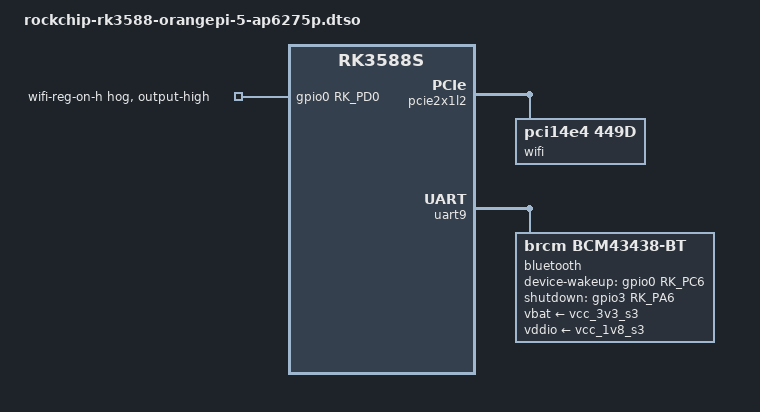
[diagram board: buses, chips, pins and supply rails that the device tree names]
// SPDX-License-Identifier: (GPL-2.0+ OR MIT)

/dts-v1/;
/plugin/;

#include <dt-bindings/gpio/gpio.h>
#include <dt-bindings/pinctrl/rockchip.h>

/ {
	compatible = "xunlong,orangepi-5", "rockchip,rk3588s";

	fragment@0 {
		target = <&pinctrl>;

		__overlay__ {
			wireless-bluetooth {
				bt_reset_pin: bt-reset-pin {
					rockchip,pins = <3 RK_PA6 RK_FUNC_GPIO &pcfg_pull_none>;
				};

				bt_wake_pin: bt-wake-pin {
					rockchip,pins = <0 RK_PC6 RK_FUNC_GPIO &pcfg_pull_up>;
				};
			};
		};
	};

	fragment@1 {
		target = <&pcie2x1l2>;

		__overlay__ {
			pcie@0,0 {
				reg = <0x400000 0 0 0 0>;
				#address-cells = <3>;
				#size-cells = <2>;
				ranges;
				device_type = "pci";
				bus-range = <0x40 0x4f>;

				wifi: wifi@0,0 {
					compatible = "pci14e4,449d";
					reg = <0x410000 0 0 0 0>;
					clocks = <&hym8563>;
					clock-names = "lpo";
				};
			};
		};
	};

	fragment@2 {
		target = <&gpio0>;

		__overlay__ {
			wifi-reg-on-h {
				gpio-hog;
				gpios = <RK_PD0 GPIO_ACTIVE_HIGH>;
				output-high;
				line-name = "wifi-reg-on-h";
			};
		};
	};

	fragment@3 {
		target = <&uart9>;

		__overlay__ {
			pinctrl-names = "default";
			pinctrl-0 = <&uart9m2_xfer &uart9m2_ctsn &uart9m2_rtsn>;
			status = "okay";

			bluetooth {
				compatible = "brcm,bcm43438-bt";
				clocks = <&hym8563>;
				clock-names = "lpo";
				device-wakeup-gpios = <&gpio0 RK_PC6 GPIO_ACTIVE_HIGH>;
				shutdown-gpios = <&gpio3 RK_PA6 GPIO_ACTIVE_HIGH>;
				max-speed = <1500000>;
				pinctrl-names = "default";
				pinctrl-0 = <&bt_wake_pin &bt_reset_pin>;
				vbat-supply = <&vcc_3v3_s3>;
				vddio-supply = <&vcc_1v8_s3>;
			};
		};
	};
};
